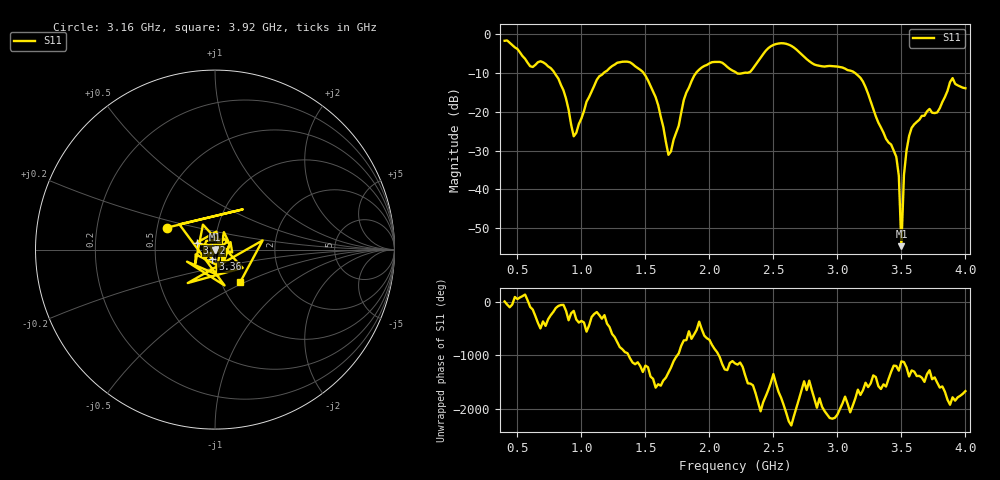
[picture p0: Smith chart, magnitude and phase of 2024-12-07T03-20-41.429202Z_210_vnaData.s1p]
!Created with skrf (http://scikit-rf.org).
# Hz S RI R 50.0
!freq ReS11 ImS11
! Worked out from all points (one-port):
!   181 points, 400 MHz to 4 GHz, reference 50 ohm
!   lowest |S11| = -54.6 dB at 3.5 GHz (marker M1), VSWR 1.00, Z = 50.2 - j0.101 ohm
!   |S11| at or under -10 dB: 789.8 MHz to 1.175 GHz (385.3 MHz wide, 39.2 % of centre); 1.485 GHz to 1.896 GHz (411.7 MHz wide, 24.4 % of centre); 3.136 GHz to end of sweep (the widest 3 of 4)
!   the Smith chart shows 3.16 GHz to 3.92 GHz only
!   S11 on the Smith chart (normalised r, x): 3.16 GHz: 0.56, +0.15; 3.36 GHz: 0.97, -0.10; 3.72 GHz: 0.81, +0.06; 3.92 GHz: 1.23, -0.47
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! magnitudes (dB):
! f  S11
! 400 MHz  -1.7
! 760 MHz  -8.8
! 860 MHz  -14.5
! 940 MHz  -26.3
! 1.12 GHz  -11.8
! 1.3 GHz  -7.3
! 1.52 GHz  -11.9
! 1.6 GHz  -18.3
! 1.68 GHz  -31.1
! 1.76 GHz  -23.6
! 1.82 GHz  -15.1
! 1.92 GHz  -9.2
! 2.2 GHz  -9.7
! 2.32 GHz  -9.7
! 2.5 GHz  -2.8
! 2.66 GHz  -3.5
! 3.1 GHz  -9.4
! 3.16 GHz  -10.7
! 3.36 GHz  -25.4
! 3.46 GHz  -31.6
! 3.48 GHz  -36.5
! 3.5 GHz  -54.6
! 3.52 GHz  -36.3
! 3.56 GHz  -26.3
! 3.72 GHz  -19.3
! 3.78 GHz  -20.2
! 3.92 GHz  -12.8
! 4 GHz  -14.0
